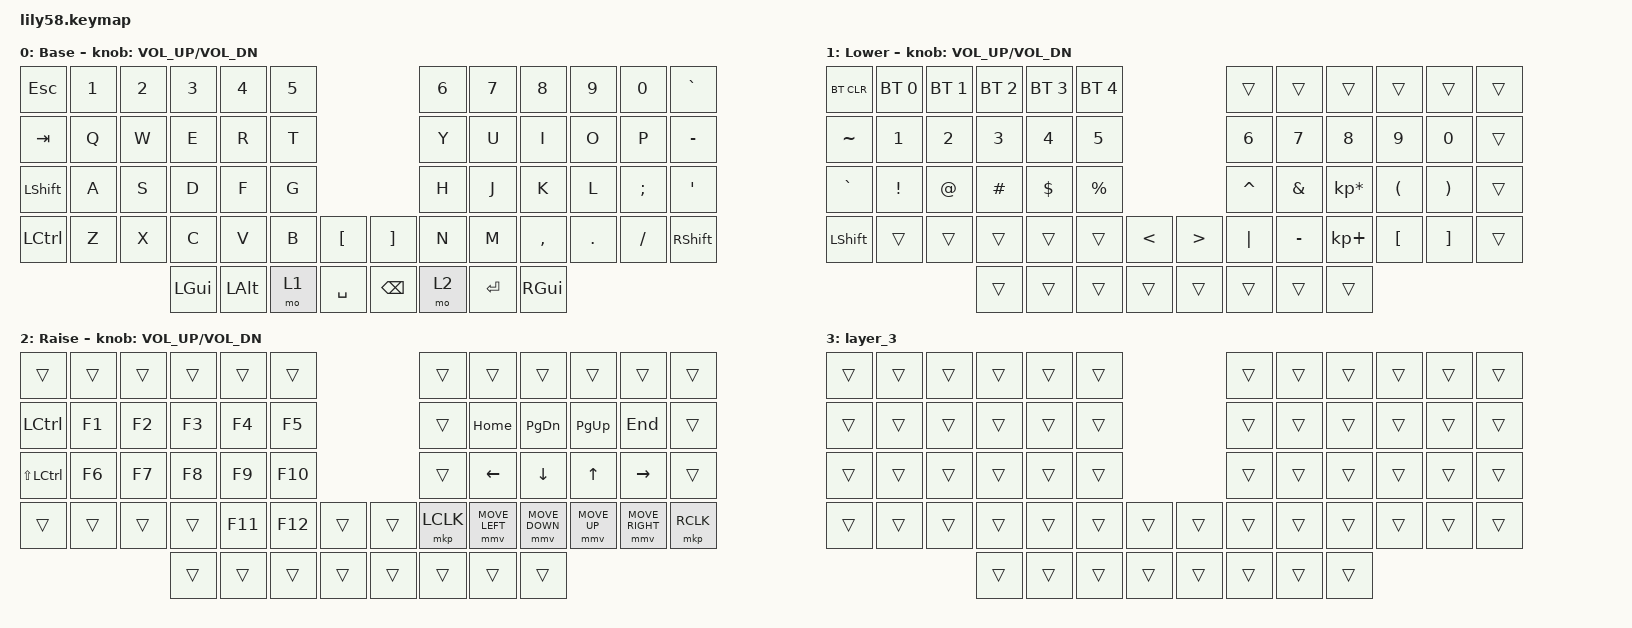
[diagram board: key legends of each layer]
/*
 * Copyright (c) 2020 The ZMK Contributors
 *
 * SPDX-License-Identifier: MIT
 */

#include <behaviors.dtsi>
#include <dt-bindings/zmk/bt.h>
#include <dt-bindings/zmk/keys.h>
#include <dt-bindings/zmk/pointing.h>

/ {
    keymap {
        compatible = "zmk,keymap";

        default_layer {
            // ------------------------------------------------------------------------------------------------------------
            // |  ESC  |  1  |  2  |  3   |  4   |  5   |                   |  6   |  7    |  8    |  9   |   0   |   `   |
            // |  TAB  |  Q  |  W  |  E   |  R   |  T   |                   |  Y   |  U    |  I    |  O   |   P   |   -   |
            // |  CTRL |  A  |  S  |  D   |  F   |  G   |                   |  H   |  J    |  K    |  L   |   ;   |   '   |
            // | SHIFT |  Z  |  X  |  C   |  V   |  B   |   "["  |  |  "]"  |  N   |  M    |  ,    |  .   |   /   | SHIFT |
            //                     | ALT  | GUI  | LOWER|  SPACE |  | ENTER | RAISE| BSPC  | GUI   |

            display-name = "Base";
            bindings = <
&kp ESC           &kp N1  &kp N2  &kp N3        &kp N4        &kp N5                              &kp N6  &kp N7     &kp N8     &kp N9   &kp N0         &kp GRAVE
&kp TAB           &kp Q   &kp W   &kp E         &kp R         &kp T                               &kp Y   &kp U      &kp I      &kp O    &kp P          &kp MINUS
&kp LEFT_SHIFT    &kp A   &kp S   &kp D         &kp F         &kp G                               &kp H   &kp J      &kp K      &kp L    &kp SEMICOLON  &kp SQT
&kp LEFT_CONTROL  &kp Z   &kp X   &kp C         &kp V         &kp B   &kp LBKT     &kp RBKT       &kp N   &kp M      &kp COMMA  &kp DOT  &kp FSLH       &kp RSHFT
                                  &kp LEFT_GUI  &kp LEFT_ALT  &mo 1   &kp SPACE    &kp BACKSPACE  &mo 2   &kp ENTER  &kp RGUI
            >;

            sensor-bindings = <&inc_dec_kp C_VOL_UP C_VOL_DN>;
        };

        lower_layer {
            // ------------------------------------------------------------------------------------------------------------
            // | BTCLR | BT1 | BT2 |  BT3 |  BT4 |  BT5 |                   |      |       |       |      |       |       |
            // |  F1   |  F2 |  F3 |  F4  |  F5  |  F6  |                   |  F7  |  F8   |  F9   |  F10 |  F11  |  F12  |
            // |   `   |  !  |  @  |  #   |  $   |  %   |                   |  ^   |  &    |  *    |  (   |   )   |   ~   |
            // |       |     |     |      |      |      |        |  |       |      |  _    |  +    |  {   |   }   |  "|"  |
            //                     |      |      |      |        |  |       |      |       |       |

            display-name = "Lower";
            bindings = <
&bt BT_CLR  &bt BT_SEL 0  &bt BT_SEL 1  &bt BT_SEL 2  &bt BT_SEL 3  &bt BT_SEL 4                                     &trans        &trans     &trans           &trans                &trans                 &trans
&kp TILDE   &kp NUMBER_1  &kp NUMBER_2  &kp NUMBER_3  &kp NUMBER_4  &kp N5                                           &kp NUMBER_6  &kp N7     &kp N8           &kp N9                &kp N0                 &trans
&kp GRAVE   &kp EXCL      &kp AT        &kp HASH      &kp DOLLAR    &kp PRCNT                                        &kp CARET     &kp AMPS   &kp KP_MULTIPLY  &kp LEFT_PARENTHESIS  &kp RIGHT_PARENTHESIS  &trans
&kp LSHFT   &trans        &trans        &trans        &trans        &trans        &kp LESS_THAN    &kp GREATER_THAN  &kp PIPE      &kp MINUS  &kp KP_PLUS      &kp LEFT_BRACKET      &kp RIGHT_BRACKET      &trans
                                        &trans        &trans        &trans        &trans           &trans            &trans        &trans     &trans
            >;

            sensor-bindings = <&inc_dec_kp C_VOL_UP C_VOL_DN>;
        };

        raise_layer {
            // ------------------------------------------------------------------------------------------------------------
            // |       |     |     |      |      |      |                   |      |       |       |      |       |       |
            // |   `   |  1  |  2  |  3   |  4   |  5   |                   |  6   |   7   |   8   |  9   |   0   |       |
            // |   F1  |  F2 |  F3 |  F4  |  F5  |  F6  |                   |      |   <-  |   v   |  ^   |  ->   |       |
            // |   F7  |  F8 |  F9 |  F10 |  F11 |  F12 |        |  |       |  +   |   -   |   =   |  [   |   ]   |   \   |
            //                     |      |      |      |        |  |       |      |       |       |

            display-name = "Raise";
            bindings = <
&trans                &trans  &trans  &trans  &trans   &trans                     &trans     &trans          &trans          &trans        &trans           &trans
&kp LEFT_CONTROL      &kp F1  &kp F2  &kp F3  &kp F4   &kp F5                     &trans     &kp HOME        &kp PAGE_DOWN   &kp PG_UP     &kp END          &trans
&kp LS(LEFT_CONTROL)  &kp F6  &kp F7  &kp F8  &kp F9   &kp F10                    &trans     &kp LEFT        &kp DOWN        &kp UP        &kp RIGHT        &trans
&trans                &trans  &trans  &trans  &kp F11  &kp F12  &trans    &trans  &mkp LCLK  &mmv MOVE_LEFT  &mmv MOVE_DOWN  &mmv MOVE_UP  &mmv MOVE_RIGHT  &mkp RCLK
                                      &trans  &trans   &trans   &trans    &trans  &trans     &trans          &trans
            >;

            sensor-bindings = <&inc_dec_kp C_VOL_UP C_VOL_DN>;
        };

        layer_3 {
            bindings = <
&trans  &trans  &trans  &trans  &trans  &trans                    &trans  &trans  &trans  &trans  &trans  &trans
&trans  &trans  &trans  &trans  &trans  &trans                    &trans  &trans  &trans  &trans  &trans  &trans
&trans  &trans  &trans  &trans  &trans  &trans                    &trans  &trans  &trans  &trans  &trans  &trans
&trans  &trans  &trans  &trans  &trans  &trans  &trans    &trans  &trans  &trans  &trans  &trans  &trans  &trans
                        &trans  &trans  &trans  &trans    &trans  &trans  &trans  &trans
            >;
        };
    };
};
